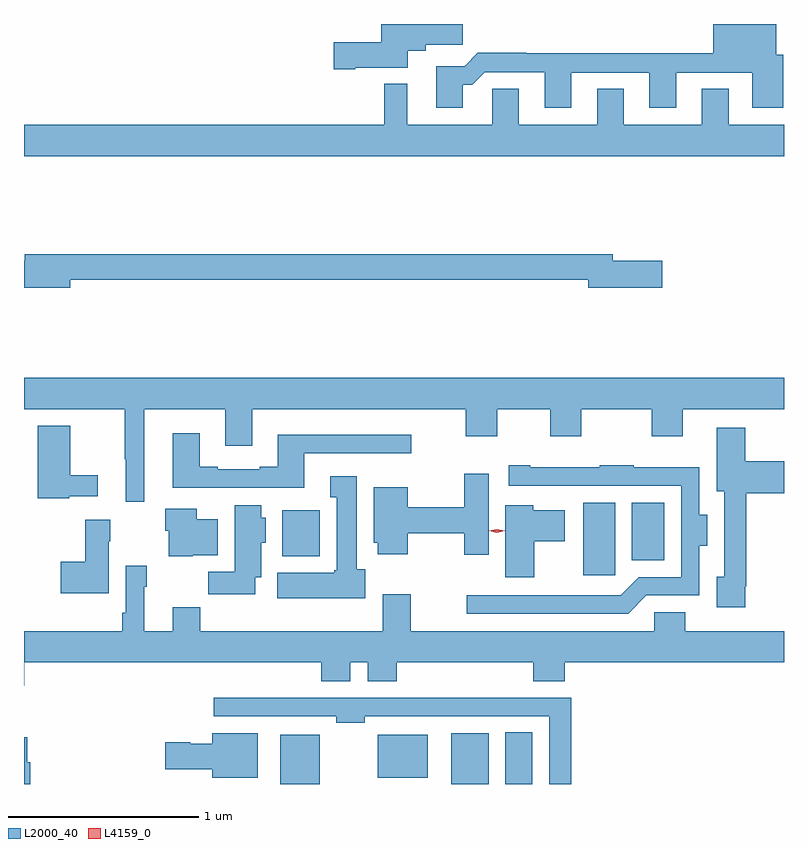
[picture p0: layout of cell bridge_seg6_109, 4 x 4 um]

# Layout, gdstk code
import gdstk
lib = gdstk.Library(unit=1e-6, precision=1e-09)
def R(c, l, rs):  # rectangles x0, y0, x1, y1
    for r in rs: c.add(gdstk.rectangle(r[:2], r[2:], *l))
def P(c, l, *ps):  # polygons
    for p in ps: c.add(gdstk.Polygon(p, *l))
L2000_40 = (2000, 40)
L4159_0 = (4159, 0)

bridge_seg6_109 = lib.new_cell('bridge_seg6_109')
R(bridge_seg6_109, L2000_40, [(459.425,928.047,459.634,928.306), (460.325,928.047,460.522,928.315), (460.61,928.047,460.753,928.319), (459.938,928.079,460.201,928.306), (461.021,929.145,461.188,929.527), (461.276,929.225,461.446,929.527), (459.437,929.246,459.634,929.488)])
P(bridge_seg6_109, L2000_40, [(460.387,931.727),(460.436,931.727),(460.503,931.794),(460.817,931.794),(460.817,931.605),(460.957,931.605),(460.957,931.791),(461.369,931.791),(461.369,931.605),(461.509,931.605),(461.509,931.791),(461.909,931.791),(461.909,931.605),(462.074,931.605),(462.074,931.884),(462.037,931.884),(462.037,932.047),(461.705,932.047),(461.705,931.892),(460.721,931.892),(460.721,931.895),(460.466,931.895),(460.396,931.825),(460.247,931.825),(460.247,931.605),(460.387,931.605)],
  [(459.82,931.817),(460.096,931.817),(460.096,931.907),(460.192,931.907),(460.192,931.939),(460.387,931.939),(460.387,932.047),(459.956,932.047),(459.956,931.952),(459.708,931.952),(459.708,931.81),(459.82,931.81)],
  [(462.077,931.516),(461.785,931.516),(461.785,931.706),(461.645,931.706),(461.645,931.516),(461.233,931.516),(461.233,931.706),(461.093,931.706),(461.093,931.516),(460.681,931.516),(460.681,931.706),(460.542,931.706),(460.542,931.516),(460.093,931.516),(460.093,931.732),(459.972,931.732),(459.972,931.516),(458.077,931.516),(458.077,931.352),(462.077,931.352)],
  [(458.32,930.7),(461.048,930.7),(461.048,930.658),(461.437,930.658),(461.437,930.8),(461.176,930.8),(461.176,930.836),(458.081,930.836),(458.081,930.8),(458.077,930.8),(458.077,930.658),(458.32,930.658)],
  [(458.71,930.02),(459.137,930.02),(459.137,929.826),(459.277,929.826),(459.277,930.02),(460.403,930.02),(460.403,929.877),(460.567,929.877),(460.567,930.02),(460.847,930.02),(460.847,929.877),(461.011,929.877),(461.011,930.02),(461.381,930.02),(461.381,929.877),(461.545,929.877),(461.545,930.02),(462.077,930.02),(462.077,930.184),(458.077,930.184),(458.077,930.02),(458.608,930.02),(458.608,929.755),(458.612,929.755),(458.612,929.532),(458.71,929.532)],
  [(458.316,929.562),(458.464,929.562),(458.464,929.671),(458.32,929.671),(458.32,929.932),(458.15,929.932),(458.15,929.55),(458.316,929.55)],
  [(461.872,929.089),(461.879,929.089),(461.879,929.576),(462.077,929.576),(462.077,929.746),(461.873,929.746),(461.873,929.923),(461.723,929.923),(461.723,929.588),(461.763,929.588),(461.763,929.137),(461.723,929.137),(461.723,928.977),(461.872,928.977)],
  [(459.553,929.787),(460.114,929.787),(460.114,929.884),(459.413,929.884),(459.413,929.716),(459.317,929.716),(459.317,929.703),(459.097,929.703),(459.097,929.716),(459.001,929.716),(459.001,929.893),(458.861,929.893),(458.861,929.607),(459.553,929.607)],
  [(461.352,929.04),(461.632,929.04),(461.632,929.3),(461.674,929.3),(461.674,929.464),(461.631,929.464),(461.631,929.713),(461.285,929.713),(461.285,929.725),(461.107,929.725),(461.107,929.713),(460.741,929.713),(460.741,929.725),(460.629,929.725),(460.629,929.616),(461.535,929.616),(461.535,929.136),(461.313,929.136),(461.217,929.04),(460.407,929.04),(460.407,928.944),(461.256,928.944)],
  [(460.522,929.68),(460.394,929.68),(460.394,929.504),(460.096,929.504),(460.096,929.608),(459.917,929.608),(459.917,929.316),(459.938,929.316),(459.938,929.256),(460.096,929.256),(460.096,929.368),(460.394,929.368),(460.394,929.253),(460.522,929.253)],
  [(459.874,929.178),(459.829,929.178),(459.829,929.668),(459.689,929.668),(459.689,929.555),(459.722,929.555),(459.722,929.172),(459.709,929.172),(459.709,929.158),(459.41,929.158),(459.41,929.024),(459.874,929.024)],
  [(459.295,929.135),(459.325,929.135),(459.325,929.316),(459.349,929.316),(459.349,929.448),(459.325,929.448),(459.325,929.515),(459.185,929.515),(459.185,929.164),(459.046,929.164),(459.046,929.046),(459.295,929.046)],
  [(460.762,929.324),(460.924,929.324),(460.924,929.488),(460.758,929.488),(460.758,929.515),(460.61,929.515),(460.61,929.135),(460.762,929.135)],
  [(458.964,929.252),(459.097,929.252),(459.097,929.44),(458.986,929.44),(458.986,929.497),(458.821,929.497),(458.821,929.379),(458.839,929.379),(458.839,929.246),(458.964,929.246)],
  [(458.524,929.324),(458.532,929.324),(458.532,929.437),(458.399,929.437),(458.399,929.218),(458.271,929.218),(458.271,929.051),(458.524,929.051)],
  [(458.078,928.688),(459.641,928.688),(459.641,928.589),(459.793,928.589),(459.793,928.688),(459.887,928.688),(459.887,928.589),(460.04,928.589),(460.04,928.688),(460.757,928.688),(460.757,928.589),(460.922,928.589),(460.922,928.688),(462.077,928.688),(462.077,928.852),(461.558,928.852),(461.558,928.95),(461.394,928.95),(461.394,928.852),(460.113,928.852),(460.113,929.047),(459.965,929.047),(459.965,928.852),(459.005,928.852),(459.005,928.976),(458.861,928.976),(458.861,928.852),(458.71,928.852),(458.71,929.084),(458.722,929.084),(458.722,929.197),(458.613,929.197),(458.613,928.948),(458.593,928.948),(458.593,928.852),(458.077,928.852),(458.077,928.564),(458.078,928.564)],
  [(460.958,928.5),(460.673,928.5),(460.673,928.502),(460.123,928.502),(460.123,928.5),(459.62,928.5),(459.62,928.502),(459.075,928.502),(459.075,928.404),(459.72,928.404),(459.72,928.369),(459.87,928.369),(459.87,928.404),(460.842,928.404),(460.842,928.047),(460.958,928.047)],
  [(459.307,928.315),(459.068,928.315),(459.068,928.258),(458.952,928.258),(458.952,928.266),(458.82,928.266),(458.82,928.124),(459.068,928.124),(459.068,928.079),(459.307,928.079)],
  [(458.111,928.161),(458.093,928.161),(458.093,928.294),(458.077,928.294),(458.077,928.047),(458.111,928.047)])
P(bridge_seg6_109, L4159_0, [(460.566,929.369),(460.525,929.38),(460.525,929.38),(460.525,929.38),(460.566,929.389),(460.606,929.379),(460.606,929.379),(460.606,929.379)])

lib.write_gds('bridge_seg6_109.gds')
